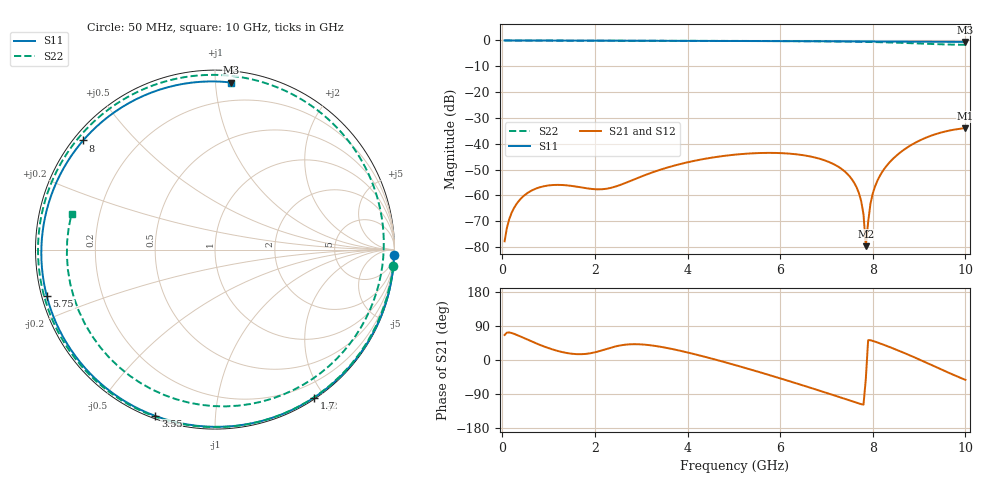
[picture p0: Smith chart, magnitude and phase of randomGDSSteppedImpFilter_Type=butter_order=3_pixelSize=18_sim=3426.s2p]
! freq	dB(S11)	phase(S11)	dB(S12)	phase(S12)
!  dB(S21)	phase(S21)	dB(S22)	phase(S22)
!S-par simulation data
#  GHz  S  DB  R 50
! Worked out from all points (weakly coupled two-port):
!   200 points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, 50 MHz to 10 GHz, reference 50 ohm
!   highest |S21| = -33.95 dB at 10 GHz (marker M1); lowest = -79.6 dB at 7.85 GHz (marker M2)
!   lowest |S11| = -0.6 dB at 10 GHz (marker M3), VSWR 29.78, Z = 3.71 + j54.9 ohm
!   |S11| at or under -10 dB: nowhere
!   |S22| runs from -1.7 to 0.0 dB; largest |S21 - S12| = 0
!   S11 on the Smith chart (normalised r, x): 50 MHz: 4, -65; 1.7 GHz: 0.02, -1.87; 3.55 GHz: 0.01, -0.70; 5.75 GHz: 0.01, -0.14; 8 GHz: 0.03, +0.36; 10 GHz: 0.07, +1.10
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0.05  -0.02 -1.8  -77.74 66.0  -77.74 66.0  -0.02 -5.3
0.2  -0.02 -6.8  -66.78 71.3  -66.78 71.3  -0.06 -20.6
0.55  -0.03 -18.7  -58.99 53.4  -58.99 53.4  -0.08 -54.2
1.05  -0.04 -35.3  -56.02 29.2  -56.02 29.2  -0.09 -94.1
1.7  -0.07 -56.2  -56.87 15.3  -56.87 15.3  -0.11 -132.3
1.75  -0.07 -57.8  -57.02 15.6  -57.02 15.6  -0.11 -134.7
2.5  -0.10 -80.5  -56.24 37.4  -56.24 37.4  -0.12 -166.4
3.4  -0.13 -105.7  -50.11 35.2  -50.11 35.2  -0.13 163.1
3.55  -0.13 -109.7  -49.28 31.9  -49.28 31.9  -0.13 158.4
5.05  -0.20 -147.6  -44.16 -14.1  -44.16 -14.1  -0.19 111.8
5.75  -0.24 -164.5  -43.52 -39.2  -43.52 -39.2  -0.24 88.3
6.7  -0.31 172.8  -45.10 -75.0  -45.10 -75.0  -0.33 51.6
7.6  -0.38 150.6  -55.14 -110.8  -55.14 -110.8  -0.49 8.3
7.75  -0.39 146.8  -62.19 -116.5  -62.19 -116.5  -0.54 -0.1
7.8  -0.40 145.5  -67.35 -117.6  -67.35 -117.6  -0.55 -3.0
7.85  -0.40 144.2  -79.63 -49.2  -79.63 -49.2  -0.57 -5.9
7.95  -0.41 141.7  -63.19 52.2  -63.19 52.2  -0.61 -11.9
8  -0.41 140.4  -59.24 50.5  -59.24 50.5  -0.63 -15.0
8.35  -0.44 131.2  -47.44 34.9  -47.44 34.9  -0.78 -38.3
9.15  -0.51 109.3  -37.63 -6.7  -37.63 -6.7  -1.29 -104.4
9.6  -0.55 96.4  -35.09 -31.5  -35.09 -31.5  -1.57 -150.4
10  -0.58 84.5  -33.95 -52.3  -33.95 -52.3  -1.68 166.0
